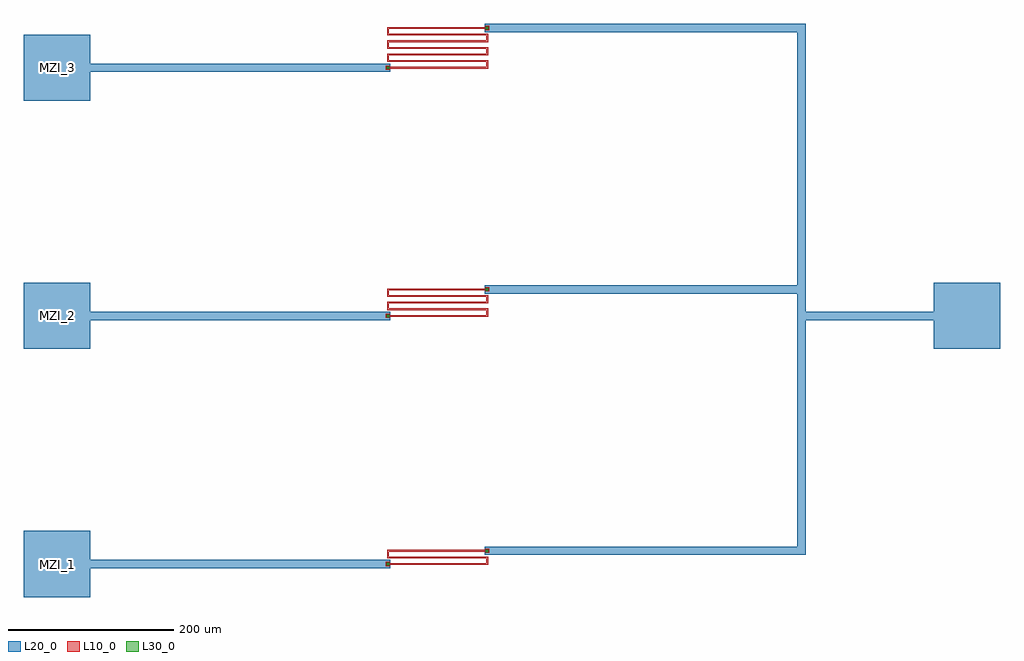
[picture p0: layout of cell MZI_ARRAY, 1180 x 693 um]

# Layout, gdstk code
import gdstk
lib = gdstk.Library(unit=1e-6, precision=1e-09)
def R(c, l, rs):  # rectangles x0, y0, x1, y1
    for r in rs: c.add(gdstk.rectangle(r[:2], r[2:], *l))
def A(c, l, x, y, w, h, nx, ny, dx, dy):  # array of equal rectangles
    R(c, l, [(x+i*dx, y+j*dy, x+i*dx+w, y+j*dy+h) for i in range(nx) for j in range(ny)])
def P(c, l, *ps):  # polygons
    for p in ps: c.add(gdstk.Polygon(p, *l))
L10_0 = (10, 0)
L20_0 = (20, 0)
L30_0 = (30, 0)

pad_80 = lib.new_cell('PAD_80')
R(pad_80, L20_0, [(-40,-40,40,40)])

mzi_array = lib.new_cell('MZI_ARRAY')
A(mzi_array, L10_0, -2.5, -2.5, 5, 5, 1, 3, 0, 300)
A(mzi_array, L10_0, 117.5, 13.5, 5, 5, 1, 3, 0, 316)
P(mzi_array, L10_0, [(0,1),(0,-1),(121,-1),(121,9),(1,9),(1,15),(120,15),(120,17),(-1,17),(-1,7),(119,7),(119,1)],
  [(0,301),(0,299),(121,299),(121,309),(1,309),(1,315),(121,315),(121,325),(1,325),(1,331),(120,331),(120,333),(-1,333),(-1,323),(119,323),(119,317),(-1,317),(-1,307),(119,307),(119,301)],
  [(0,601),(0,599),(121,599),(121,609),(1,609),(1,615),(121,615),(121,625),(1,625),(1,631),(121,631),(121,641),(1,641),(1,647),(120,647),(120,649),(-1,649),(-1,639),(119,639),(119,633),(-1,633),(-1,623),(119,623),(119,617),(-1,617),(-1,607),(119,607),(119,601)])
A(mzi_array, L20_0, -400, -5, 403, 10, 1, 3, 0, 300)
P(mzi_array, L20_0, [(117,21),(117,11),(505,11),(505,295),(700,295),(700,305),(495,305),(495,21)],
  [(117,337),(117,327),(495,327),(495,295),(700,295),(700,305),(505,305),(505,337)],
  [(117,653),(117,643),(495,643),(495,295),(700,295),(700,305),(505,305),(505,653)])
A(mzi_array, L30_0, -1.5, -1.5, 3, 3, 1, 3, 0, 300)
A(mzi_array, L30_0, 118.5, 14.5, 3, 3, 1, 3, 0, 316)
mzi_array.add(gdstk.Reference(pad_80, (700,300)))
mzi_array.add(gdstk.Reference(pad_80, (-400,0)))
mzi_array.add(gdstk.Reference(pad_80, (-400,300)))
mzi_array.add(gdstk.Reference(pad_80, (-400,600)))
mzi_array.add(gdstk.Label('MZI_1', (-400,0), layer=63, texttype=0))
mzi_array.add(gdstk.Label('MZI_2', (-400,300), layer=63, texttype=0))
mzi_array.add(gdstk.Label('MZI_3', (-400,600), layer=63, texttype=0))

lib.write_gds('MZI_ARRAY.gds')
